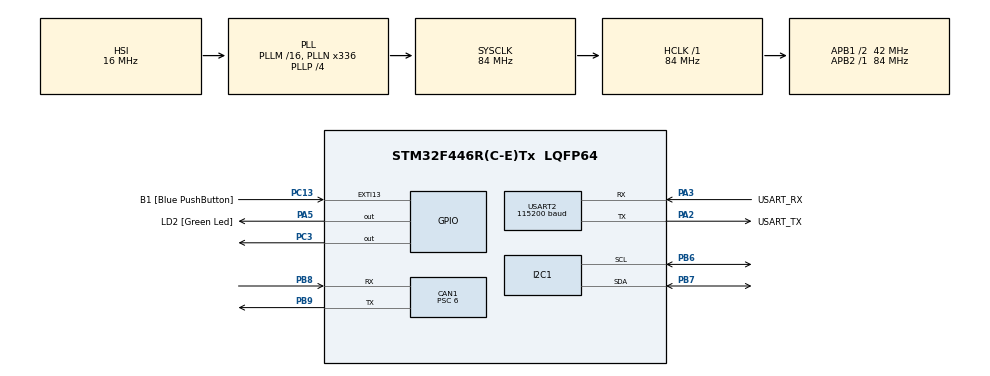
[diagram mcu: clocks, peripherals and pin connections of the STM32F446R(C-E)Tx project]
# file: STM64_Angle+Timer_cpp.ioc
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CAN1.ABOM=ENABLE
CAN1.BS1=CAN_BS1_11TQ
CAN1.BS2=CAN_BS2_2TQ
CAN1.CalculateBaudRate=500000
CAN1.CalculateTimeBit=2000
CAN1.CalculateTimeQuantum=142.85714285714286
CAN1.NART=ENABLE
CAN1.Prescaler=6
Dma.Request0=USART2_TX
Dma.USART2_TX.0.Direction=DMA_MEMORY_TO_PERIPH
Dma.USART2_TX.0.FIFOMode=DMA_FIFOMODE_DISABLE
Dma.USART2_TX.0.Instance=DMA1_Stream6
Dma.USART2_TX.0.MemDataAlignment=DMA_MDATAALIGN_BYTE
Dma.USART2_TX.0.MemInc=DMA_MINC_ENABLE
Dma.USART2_TX.0.Mode=DMA_NORMAL
Dma.USART2_TX.0.PeriphDataAlignment=DMA_PDATAALIGN_BYTE
Dma.USART2_TX.0.PeriphInc=DMA_PINC_DISABLE
Dma.USART2_TX.0.Priority=DMA_PRIORITY_LOW
I2C1.I2C_Mode=I2C_Fast
Mcu.Family=STM32F4
Mcu.Name=STM32F446R(C-E)Tx
Mcu.Package=LQFP64
NVIC.CAN1_RX0_IRQn=true\:0\:0\:false\:false\:true\:true\:true\:true
NVIC.DMA1_Stream6_IRQn=true\:0\:0\:false\:false\:true\:false\:true\:true
NVIC.PriorityGroup=NVIC_PRIORITYGROUP_0
NVIC.TIM1_UP_TIM10_IRQn=true\:0\:0\:false\:false\:true\:true\:true\:true
NVIC.TIM6_DAC_IRQn=true\:0\:0\:false\:false\:true\:true\:true\:true
PA13.GPIO_Label=TMS
PA13.Mode=Serial_Wire
PA13.Signal=SYS_JTMS-SWDIO
PA14.GPIO_Label=TCK
PA14.Mode=Serial_Wire
PA14.Signal=SYS_JTCK-SWCLK
PA2.GPIO_Label=USART_TX
PA2.Mode=Asynchronous
PA2.Signal=USART2_TX
PA3.GPIO_Label=USART_RX
PA3.Mode=Asynchronous
PA3.Signal=USART2_RX
PA5.GPIO_Label=LD2 [Green Led]
PA5.Signal=GPIO_Output
PB3.Signal=SYS_JTDO-SWO
PB6.Mode=I2C
PB6.Signal=I2C1_SCL
PB7.Mode=I2C
PB7.Signal=I2C1_SDA
PB8.Mode=CAN_Activate
PB8.Signal=CAN1_RX
PB9.Mode=CAN_Activate
PB9.Signal=CAN1_TX
PC13.GPIO_Label=B1 [Blue PushButton]
PC13.GPIO_ModeDefaultEXTI=GPIO_MODE_IT_FALLING
PC13.Signal=GPXTI13
PC14-OSC32_IN.Mode=LSE-External-Oscillator
PC14-OSC32_IN.Signal=RCC_OSC32_IN
PC15-OSC32_OUT.Mode=LSE-External-Oscillator
PC15-OSC32_OUT.Signal=RCC_OSC32_OUT
PC3.GPIO_PuPd=GPIO_NOPULL
PC3.GPIO_Speed=GPIO_SPEED_FREQ_HIGH
PC3.Signal=GPIO_Output
PH0-OSC_IN.Mode=HSE-External-Oscillator
PH0-OSC_IN.Signal=RCC_OSC_IN
PH1-OSC_OUT.Mode=HSE-External-Oscillator
PH1-OSC_OUT.Signal=RCC_OSC_OUT
ProjectManager.HeapSize=0x200
ProjectManager.StackSize=0x400
ProjectManager.TargetToolchain=STM32CubeIDE
RCC.48MHZClocksFreq_Value=84000000
RCC.AHBFreq_Value=84000000
RCC.APB1CLKDivider=RCC_HCLK_DIV2
RCC.APB1Freq_Value=42000000
RCC.APB1TimFreq_Value=84000000
RCC.APB2Freq_Value=84000000
RCC.APB2TimFreq_Value=84000000
RCC.CortexFreq_Value=84000000
RCC.FLatency-AdvancedSettings=FLASH_LATENCY_2
RCC.HCLKFreq_Value=84000000
RCC.HSE_VALUE=16000000
RCC.HSI_VALUE=16000000
RCC.PLLN=336
RCC.PLLP=RCC_PLLP_DIV4
RCC.PLLQ=7
RCC.SYSCLKFreq_VALUE=84000000
RCC.SYSCLKSource=RCC_SYSCLKSOURCE_PLLCLK
RCC.USBFreq_Value=48000000
RCC.VCOOutputFreq_Value=336000000
TIM10.Period=10-1
TIM10.Prescaler=840-1
TIM6.Period=2000-1
TIM6.Prescaler=84-1
USART2.BaudRate=115200
USART2.VirtualMode=VM_ASYNC
VP_TIM10_VS_ClockSourceINT.Mode=Enable_Timer
VP_TIM6_VS_ClockSourceINT.Mode=Enable_Timer
board=NUCLEO-F446RE

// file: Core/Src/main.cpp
/* USER CODE BEGIN Header */
/**
  ******************************************************************************
  * @file           : main.c
  * @brief          : Main program body
  ******************************************************************************
  * @attention
  *
  * Copyright (c) 2025 STMicroelectronics.
  * All rights reserved.
  *
  * This software is licensed under terms that can be found in the LICENSE file
  * in the root directory of this software component.
  * If no LICENSE file comes with this software, it is provided AS-IS.
  *
  ******************************************************************************
  */
/* USER CODE END Header */
#include "main.h"

/* USER CODE BEGIN Includes */
#include "ICM20602.h"
#include <stdio.h>
#include <string.h>
//----------------ODrive-----------------
#include <math.h>
#include "ODrive/ODriveCAN.h"
#include "ODrive_CubeIDE_glue.h"

/* USER CODE END Includes */

/* USER CODE BEGIN PTD */
struct ODriveUserData {

Heartbeat_msg_t last_heartbeat;

bool received_heartbeat = false;

Get_Encoder_Estimates_msg_t last_feedback;

bool received_feedback = false;

};
/* USER CODE END PTD */

/* USER CODE BEGIN PD */
#define ODRV0_NODE_ID 0
#define TWO_PI (6.283185307179586f)
/* USER CODE END PD */

CAN_HandleTypeDef hcan1;

I2C_HandleTypeDef hi2c1;

UART_HandleTypeDef huart2;
DMA_HandleTypeDef hdma_usart2_tx;

/* USER CODE BEGIN PV */
float gx, gy, gz;
int iic_err = 0;
extern float gyro_y;
extern float deg_XZ;
char msg5[64];
volatile uint32_t cf_update_count = 0;
volatile uint32_t last_print_time = 0;
CompFilter filter;
int exponent = 1;
float target_pos = 0;
static uint32_t MY_TIME = 1;
float first_pos = 0;

uint32_t feedback_counter = 0;        // Počítadlo zpráv

//--------------------------ODrive----------------------------------
CubeCANInterface can_intf = {&hcan1};
ODriveCanIntfWrapper can_wrapper = wrap_can_intf(can_intf);
ODriveCAN odrv0(can_wrapper, ODRV0_NODE_ID);

ODriveUserData odrv0_user_data;

/* USER CODE END PV */

void SystemClock_Config(void);
static void MX_GPIO_Init(void);
static void MX_DMA_Init(void);
static void MX_USART2_UART_Init(void);
static void MX_I2C1_Init(void);
static void MX_TIM6_Init(void);
static void MX_CAN1_Init(void);
static void MX_TIM10_Init(void);
/* USER CODE BEGIN PFP */

/*
 *
extern "C" int _write(int file, char *ptr, int len) {

int DataIdx;

for (DataIdx = 0; DataIdx < len; DataIdx++) {

// Send the character to ITM Port 0

ITM_SendChar((uint32_t)*ptr++);

}

return len;

}
 */

void onHeartbeat(Heartbeat_msg_t& msg, void* user_data) {

ODriveUserData* odrv_user_data = static_cast<ODriveUserData*>(user_data);

odrv_user_data->last_heartbeat = msg;

odrv_user_data->received_heartbeat = true;

}

// Called every time a feedback message arrives

void onFeedback(Get_Encoder_Estimates_msg_t& msg, void* user_data) {

ODriveUserData* odrv_user_data = static_cast<ODriveUserData*>(user_data);

odrv_user_data->last_feedback = msg;

odrv_user_data->received_feedback = true;

}
/* USER CODE END PFP */

int main(void)
{

  /* MCU Configuration--------------------------------------------------------*/

  /* Reset of all peripherals, Initializes the Flash interface and the Systick. */
  HAL_Init();

  /* Configure the system clock */
  SystemClock_Config();

  /* Initialize all configured peripherals */
  MX_GPIO_Init();
  MX_DMA_Init();
  MX_USART2_UART_Init();
  MX_I2C1_Init();
  MX_TIM6_Init();
  MX_CAN1_Init();
  MX_TIM10_Init();
  /* USER CODE BEGIN 2 */

  //HAL_TIM_Base_Start_IT(&htim6);

  ICM20602_Init(/*ad0=*/0, /*dlpf_cfg=*/2, /*smpl_div=*/4, /*fs=*/GFS_1000);
  CF_Init(&filter, 0.0);

  //--------------------------------ODrive--------------------------

  //sprintf(msg5, "ODriveCAN Start \r\n");
  //HAL_UART_Transmit(&huart2, (uint8_t*)msg5, strlen(msg5), 100);
  printf("ODrive Start \r\n");

  //printf("SYSCLK: %ld Hz, APB1: %ld Hz\r\n", HAL_RCC_GetSysClockFreq(), HAL_RCC_GetPCLK1Freq());

  odrv0.onFeedback(onFeedback, &odrv0_user_data);

  odrv0.onStatus(onHeartbeat, &odrv0_user_data);

  // --- Configure CAN Filter ---

  // This is CRITICAL for receiving any messages

  CAN_FilterTypeDef sFilterConfig;

  sFilterConfig.FilterBank = 0;

  sFilterConfig.FilterMode = CAN_FILTERMODE_IDMASK;

  sFilterConfig.FilterScale = CAN_FILTERSCALE_32BIT;

  sFilterConfig.FilterIdHigh = 0x0000;

  sFilterConfig.FilterIdLow = 0x0000;

  sFilterConfig.FilterMaskIdHigh = 0x0000;

  sFilterConfig.FilterMaskIdLow = 0x0000; // Accept all messages

  sFilterConfig.FilterFIFOAssignment = CAN_RX_FIFO0;

  sFilterConfig.FilterActivation = ENABLE;

  if (HAL_CAN_ConfigFilter(&hcan1, &sFilterConfig) != HAL_OK) {

  //sprintf(msg5, "ERROR Filter \r\n");
  //HAL_UART_Transmit(&huart2, (uint8_t*)msg5, strlen(msg5), 100);

  printf("ERROR Filter \r\n");

  Error_Handler();

  }

  // --- Start CAN Peripheral ---

  if (HAL_CAN_Start(&hcan1) != HAL_OK) {

  //sprintf(msg5, "ERROR CAN \r\n");
  //HAL_UART_Transmit(&huart2, (uint8_t*)msg5, strlen(msg5), 100);

  printf("ERROR CAN \r\n");

  Error_Handler();

  }

  // --- Wait for ODrive ---

  //sprintf(msg5, "ODrive wait \r\n");
  //HAL_UART_Transmit(&huart2, (uint8_t*)msg5, strlen(msg5), 100);

  printf("ODrive Wait \r\n");

  while (!odrv0_user_data.received_heartbeat) {

  pumpEvents(can_intf); // Check for messages

  HAL_Delay(100); // Wait 100ms

  }

  //sprintf(msg5, "ODriveCAN Found \r\n");
  //HAL_UART_Transmit(&huart2, (uint8_t*)msg5, strlen(msg5), 100);

  printf("ODrive Found \r\n");

  // --- Request Bus Voltage ---

  //sprintf(msg5, "Read bus \r\n");
  //HAL_UART_Transmit(&huart2, (uint8_t*)msg5, strlen(msg5), 100);

  Get_Bus_Voltage_Current_msg_t vbus;

  if (!odrv0.request(vbus, 1000)) {

  //sprintf(msg5, "VBus failed \r\n");
  //HAL_UART_Transmit(&huart2, (uint8_t*)msg5, strlen(msg5), 100);

  printf("Vbus Fail \r\n");

  Error_Handler();

  }

  // --- Set Closed Loop Control ---

  //sprintf(msg5, "Close Loop \r\n");
  //HAL_UART_Transmit(&huart2, (uint8_t*)msg5, strlen(msg5), 100);

  printf("Close loop \r\n");

  while (odrv0_user_data.last_heartbeat.Axis_State != ODriveAxisState::AXIS_STATE_CLOSED_LOOP_CONTROL) {

  odrv0.clearErrors();

  HAL_Delay(1);

  odrv0.setState(ODriveAxisState::AXIS_STATE_CLOSED_LOOP_CONTROL);

  // Wait 150ms for state to take effect

  for (int i = 0; i < 15; ++i) {

  HAL_Delay(10);

  pumpEvents(can_intf); // Keep checking for heartbeats

  }

  }

  //sprintf(msg5, "ODrive running \r\n");
  //HAL_UART_Transmit(&huart2, (uint8_t*)msg5, strlen(msg5), 100);

  printf("ODrive Running \r\n");

  odrv0.setPosition(0.0, 0.0, 0);
  /* USER CODE END 2 */

  /* Infinite loop */
  /* USER CODE BEGIN WHILE */
  LL_TIM_SetCounter(TIM10, 0);
  LL_TIM_SetCounter(TIM6, 0);
  LL_TIM_EnableIT_UPDATE(TIM10);
  LL_TIM_EnableIT_UPDATE(TIM6);
  LL_TIM_EnableCounter(TIM10);
  //LL_TIM_EnableCounter(TIM6);
  while (1)
  {
	  pumpEvents(can_intf);

	  uint32_t loop_time;
	  if (MY_TIME >= 100)
	  {
		  loop_time = MY_TIME;
		  MY_TIME = 0;
		  Read_Gyro();
		  Read_Data_ACC();

		  CF_Update(&filter, gyro_y, deg_XZ);

	  /*
	   * --------------------------------------------- kontrola frekvence---------------------
	  uint32_t current_time = HAL_GetTick();

	      // Kontrola, zda uplynula 1 sekunda (1000 ms) od posledního tisku
	      if ((current_time - last_print_time) >= 1000)
	      {
	          // Atomicky přečíst čítač přerušení, aby nedošlo k jeho změně během čtení z ISR
	          // i když u 32bit proměnné to není vždy nutné, je to dobrá praxe.
	          // Není nutné lockovat, stačí přečíst.
	          uint32_t frequency = cf_update_count;

	          char freq_msg[64];
	          // Vytvoření zprávy pro UART
	          int len = sprintf(freq_msg, "Timer Freq: %lu Hz\r\n", (unsigned long)frequency);

	          // Odeslání přes UART/USART (huart2). Časový limit (timeout) 100 ms.
	          HAL_UART_Transmit(&huart2, (uint8_t *)freq_msg, len, 100);

	          // Resetování času a čítače pro novou sekundu
	          last_print_time = current_time;
	          cf_update_count = 0; // Reset čítače pro měření další sekundy
	      }

	   */
	  //sprintf(msg5, "angle: %d ACC:%d \r\n", (int)(filter.angle), (int)deg_XZ);
	  //HAL_UART_Transmit(&huart2, (uint8_t*)msg5, strlen(msg5), 100);
    /* USER CODE END WHILE */

    /* USER CODE BEGIN 3 */

	//------------------------------------ODrive-----------------------

	  //float min_pos = 0.01;
	  //target_pos += min_pos;
/*-----------TEST-MOVEMENT-------------
 *
		  if (odrv0_user_data.received_feedback )
		  {
			  Get_Encoder_Estimates_msg_t feedback = odrv0_user_data.last_feedback;
			  //Get_Iq_msg_t feedback2 = odrv0_user_data.last_feedback;
			  odrv0_user_data.received_feedback = false;

			  //feedback_counter++;

		  }
 */

 	 	  Get_Encoder_Estimates_msg_t feedback = odrv0_user_data.last_feedback;

		  float error_position = feedback.Pos_Estimate + (filter.angle/360.0);

		  //target_pos = error_position/360.0;
		  float target_vel = -gyro_y/360.0;

		  printf("Pos_Estim: %.4f target: %.4f ang: %.2f\r\n",feedback.Pos_Estimate, target_pos, filter.angle);
	  //printf("ang: %.4f, pos: %.4f time %.2f\r\n",target_pos, target_vel, filter.angle);

	  /*
	   *
	  float SINE_PERIOD = 2.0f; // Period in seconds

	  float t = 0.001f * HAL_GetTick(); // Time in seconds

	  float phase = t * (TWO_PI / SINE_PERIOD);
	   */

	  // Send the position command

	  	  odrv0.setPosition(error_position, target_vel, 0);
	  //odrv0.setPosition(0.0, 0.0, 0);

	  //printf("time: %d\r\n",loop_time);
	  // Print feedback if we have new data

		  /*
		  if (odrv0_user_data.received_feedback )
		  {
			  Get_Encoder_Estimates_msg_t feedback = odrv0_user_data.last_feedback;
			  //Get_Iq_msg_t feedback2 = odrv0_user_data.last_feedback;
			  odrv0_user_data.received_feedback = false;
			  printf("Pos_Estim: %.4f target: %.4f ang: %.2f\r\n",feedback.Pos_Estimate, target_pos, filter.angle);

			  //feedback_counter++;

		  }

	  	  if ((HAL_GetTick() - last_print_time) >= 1000)
	        {
	            // Uložíme aktuální čas pro příští měření
		  	  	last_print_time = HAL_GetTick();

	            // Vypíšeme, kolik zpráv jsme napočítali za uplynulou sekundu
	            printf("ODrive Rate: %lu Hz | Angle: %.2f\r\n", feedback_counter, filter.angle);

	            // Vynulujeme počítadlo pro další sekundu
	            feedback_counter = 0;
	        }
		   */
	  //printf("Pos_Estim: %d \r\n",loop_time);

	  //HAL_Delay(500);
	  }

  }
  /* USER CODE END 3 */
}

void SystemClock_Config(void)
{
  RCC_OscInitTypeDef RCC_OscInitStruct = {0};
  RCC_ClkInitTypeDef RCC_ClkInitStruct = {0};

  /** Configure the main internal regulator output voltage
  */
  __HAL_RCC_PWR_CLK_ENABLE();
  __HAL_PWR_VOLTAGESCALING_CONFIG(PWR_REGULATOR_VOLTAGE_SCALE3);

  /** Initializes the RCC Oscillators according to the specified parameters
  * in the RCC_OscInitTypeDef structure.
  */
  RCC_OscInitStruct.OscillatorType = RCC_OSCILLATORTYPE_HSI;
  RCC_OscInitStruct.HSIState = RCC_HSI_ON;
  RCC_OscInitStruct.HSICalibrationValue = RCC_HSICALIBRATION_DEFAULT;
  RCC_OscInitStruct.PLL.PLLState = RCC_PLL_ON;
  RCC_OscInitStruct.PLL.PLLSource = RCC_PLLSOURCE_HSI;
  RCC_OscInitStruct.PLL.PLLM = 16;
  RCC_OscInitStruct.PLL.PLLN = 336;
  RCC_OscInitStruct.PLL.PLLP = RCC_PLLP_DIV4;
  RCC_OscInitStruct.PLL.PLLQ = 2;
  RCC_OscInitStruct.PLL.PLLR = 2;
  if (HAL_RCC_OscConfig(&RCC_OscInitStruct) != HAL_OK)
  {
    Error_Handler();
  }

  /** Initializes the CPU, AHB and APB buses clocks
  */
  RCC_ClkInitStruct.ClockType = RCC_CLOCKTYPE_HCLK|RCC_CLOCKTYPE_SYSCLK
                              |RCC_CLOCKTYPE_PCLK1|RCC_CLOCKTYPE_PCLK2;
  RCC_ClkInitStruct.SYSCLKSource = RCC_SYSCLKSOURCE_PLLCLK;
  RCC_ClkInitStruct.AHBCLKDivider = RCC_SYSCLK_DIV1;
  RCC_ClkInitStruct.APB1CLKDivider = RCC_HCLK_DIV2;
  RCC_ClkInitStruct.APB2CLKDivider = RCC_HCLK_DIV1;

  if (HAL_RCC_ClockConfig(&RCC_ClkInitStruct, FLASH_LATENCY_2) != HAL_OK)
  {
    Error_Handler();
  }
}

static void MX_CAN1_Init(void)
{

  hcan1.Instance = CAN1;
  hcan1.Init.Prescaler = 8;
  hcan1.Init.Mode = CAN_MODE_NORMAL;
  hcan1.Init.SyncJumpWidth = CAN_SJW_1TQ;
  hcan1.Init.TimeSeg1 = CAN_BS1_16TQ;
  hcan1.Init.TimeSeg2 = CAN_BS2_4TQ;
  hcan1.Init.TimeTriggeredMode = DISABLE;
  hcan1.Init.AutoBusOff = ENABLE;
  hcan1.Init.AutoWakeUp = DISABLE;
  hcan1.Init.AutoRetransmission = ENABLE;
  hcan1.Init.ReceiveFifoLocked = DISABLE;
  hcan1.Init.TransmitFifoPriority = DISABLE;
  if (HAL_CAN_Init(&hcan1) != HAL_OK)
  {
    Error_Handler();
  }

}

static void MX_I2C1_Init(void)
{

  hi2c1.Instance = I2C1;
  hi2c1.Init.ClockSpeed = 400000;
  hi2c1.Init.DutyCycle = I2C_DUTYCYCLE_2;
  hi2c1.Init.OwnAddress1 = 0;
  hi2c1.Init.AddressingMode = I2C_ADDRESSINGMODE_7BIT;
  hi2c1.Init.DualAddressMode = I2C_DUALADDRESS_DISABLE;
  hi2c1.Init.OwnAddress2 = 0;
  hi2c1.Init.GeneralCallMode = I2C_GENERALCALL_DISABLE;
  hi2c1.Init.NoStretchMode = I2C_NOSTRETCH_DISABLE;
  if (HAL_I2C_Init(&hi2c1) != HAL_OK)
  {
    Error_Handler();
  }

}

static void MX_TIM6_Init(void)
{

  LL_TIM_InitTypeDef TIM_InitStruct = {0};

  /* Peripheral clock enable */
  LL_APB1_GRP1_EnableClock(LL_APB1_GRP1_PERIPH_TIM6);

  /* TIM6 interrupt Init */
  NVIC_SetPriority(TIM6_DAC_IRQn, NVIC_EncodePriority(NVIC_GetPriorityGrouping(),0, 0));
  NVIC_EnableIRQ(TIM6_DAC_IRQn);

  TIM_InitStruct.Prescaler = 83;
  TIM_InitStruct.CounterMode = LL_TIM_COUNTERMODE_UP;
  TIM_InitStruct.Autoreload = 2000-1;
  LL_TIM_Init(TIM6, &TIM_InitStruct);
  LL_TIM_DisableARRPreload(TIM6);
  LL_TIM_SetTriggerOutput(TIM6, LL_TIM_TRGO_RESET);
  LL_TIM_DisableMasterSlaveMode(TIM6);

}

static void MX_TIM10_Init(void)
{

  LL_TIM_InitTypeDef TIM_InitStruct = {0};

  /* Peripheral clock enable */
  LL_APB2_GRP1_EnableClock(LL_APB2_GRP1_PERIPH_TIM10);

  /* TIM10 interrupt Init */
  NVIC_SetPriority(TIM1_UP_TIM10_IRQn, NVIC_EncodePriority(NVIC_GetPriorityGrouping(),0, 0));
  NVIC_EnableIRQ(TIM1_UP_TIM10_IRQn);

  TIM_InitStruct.Prescaler = 839;
  TIM_InitStruct.CounterMode = LL_TIM_COUNTERMODE_UP;
  TIM_InitStruct.Autoreload = 9;
  TIM_InitStruct.ClockDivision = LL_TIM_CLOCKDIVISION_DIV1;
  LL_TIM_Init(TIM10, &TIM_InitStruct);
  LL_TIM_DisableARRPreload(TIM10);

}

static void MX_USART2_UART_Init(void)
{

  huart2.Instance = USART2;
  huart2.Init.BaudRate = 115200;
  huart2.Init.WordLength = UART_WORDLENGTH_8B;
  huart2.Init.StopBits = UART_STOPBITS_1;
  huart2.Init.Parity = UART_PARITY_NONE;
  huart2.Init.Mode = UART_MODE_TX_RX;
  huart2.Init.HwFlowCtl = UART_HWCONTROL_NONE;
  huart2.Init.OverSampling = UART_OVERSAMPLING_16;
  if (HAL_UART_Init(&huart2) != HAL_OK)
  {
    Error_Handler();
  }

}

static void MX_DMA_Init(void)
{

  /* DMA controller clock enable */
  __HAL_RCC_DMA1_CLK_ENABLE();

  /* DMA interrupt init */
  /* DMA1_Stream6_IRQn interrupt configuration */
  HAL_NVIC_SetPriority(DMA1_Stream6_IRQn, 0, 0);
  HAL_NVIC_EnableIRQ(DMA1_Stream6_IRQn);

}

static void MX_GPIO_Init(void)
{
  GPIO_InitTypeDef GPIO_InitStruct = {0};

  /* GPIO Ports Clock Enable */
  __HAL_RCC_GPIOC_CLK_ENABLE();
  __HAL_RCC_GPIOH_CLK_ENABLE();
  __HAL_RCC_GPIOA_CLK_ENABLE();
  __HAL_RCC_GPIOB_CLK_ENABLE();

  /*Configure GPIO pin Output Level */
  HAL_GPIO_WritePin(GPIOC, GPIO_PIN_3, GPIO_PIN_RESET);

  /*Configure GPIO pin Output Level */
  HAL_GPIO_WritePin(LD2_GPIO_Port, LD2_Pin, GPIO_PIN_RESET);

  /*Configure GPIO pin : B1_Pin */
  GPIO_InitStruct.Pin = B1_Pin;
  GPIO_InitStruct.Mode = GPIO_MODE_IT_FALLING;
  GPIO_InitStruct.Pull = GPIO_NOPULL;
  HAL_GPIO_Init(B1_GPIO_Port, &GPIO_InitStruct);

  /*Configure GPIO pin : PC3 */
  GPIO_InitStruct.Pin = GPIO_PIN_3;
  GPIO_InitStruct.Mode = GPIO_MODE_OUTPUT_PP;
  GPIO_InitStruct.Pull = GPIO_NOPULL;
  GPIO_InitStruct.Speed = GPIO_SPEED_FREQ_LOW;
  HAL_GPIO_Init(GPIOC, &GPIO_InitStruct);

  /*Configure GPIO pin : LD2_Pin */
  GPIO_InitStruct.Pin = LD2_Pin;
  GPIO_InitStruct.Mode = GPIO_MODE_OUTPUT_PP;
  GPIO_InitStruct.Pull = GPIO_NOPULL;
  GPIO_InitStruct.Speed = GPIO_SPEED_FREQ_LOW;
  HAL_GPIO_Init(LD2_GPIO_Port, &GPIO_InitStruct);

}

/* USER CODE BEGIN 4 */

#ifdef __cplusplus
extern "C" {
#endif

int __io_putchar(int ch) {
    // Ensure &huart2 is the correct handle
    HAL_UART_Transmit(&huart2, (uint8_t *)&ch, 1, HAL_MAX_DELAY);
    return ch;
}

// Just in case the library tries to call _write directly:
int _write(int file, char *ptr, int len) {
    int DataIdx;
    for (DataIdx = 0; DataIdx < len; DataIdx++) {
        __io_putchar(*ptr++);
    }
    return len;
}

#ifdef __cplusplus
}
#endif

/*
 *
void HAL_TIM_PeriodElapsedCallback(TIM_HandleTypeDef *htim)
{
  UNUSED(htim);

  if (htim->Instance == TIM6){
	  Read_Gyro();
	  Read_Data_ACC();

	  CF_Update(&filter, gyro_y, deg_XZ);

	  //cf_ready_for_print_flag = true;

	  cf_update_count++;
  }
}
 */

#ifdef __cplusplus
extern "C" {
#endif

void clock_callback()
{
	MY_TIME += 1;

}

void imu_callback()
{

	  Read_Gyro();
	  Read_Data_ACC();

	  CF_Update(&filter, gyro_y, deg_XZ);

	  //cf_ready_for_print_flag = true;

	  cf_update_count++;

}

#ifdef __cplusplus
}
#endif

/* USER CODE END 4 */

void Error_Handler(void)
{
  __disable_irq();
  while (1)
  {
  }
}
